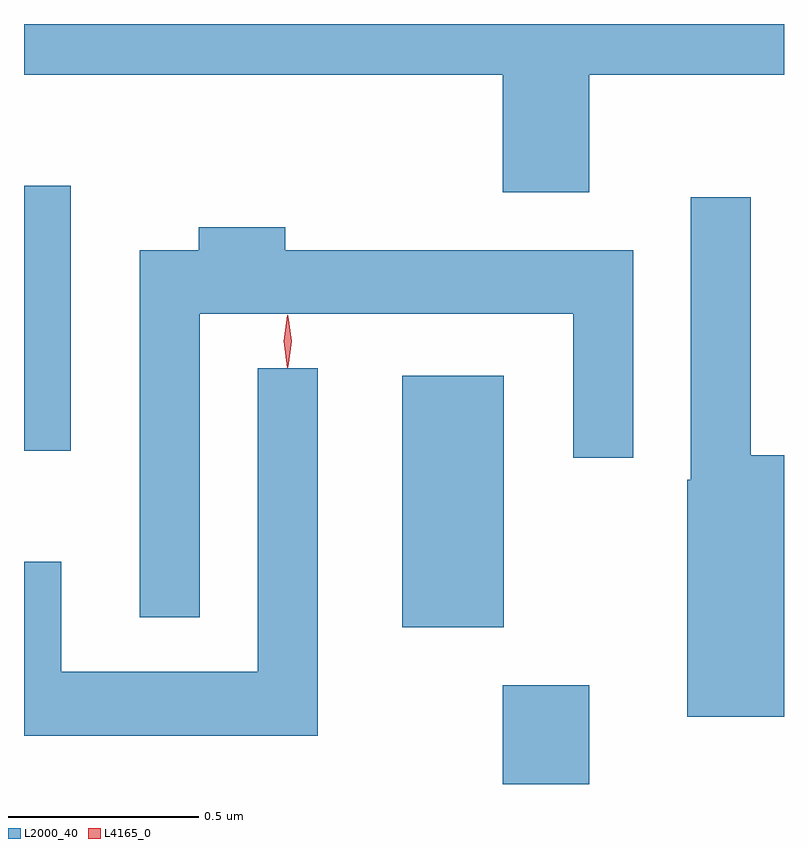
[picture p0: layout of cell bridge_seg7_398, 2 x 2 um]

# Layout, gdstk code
import gdstk
lib = gdstk.Library(unit=1e-6, precision=1e-09)
def R(c, l, rs):  # rectangles x0, y0, x1, y1
    for r in rs: c.add(gdstk.rectangle(r[:2], r[2:], *l))
def P(c, l, *ps):  # polygons
    for p in ps: c.add(gdstk.Polygon(p, *l))
L2000_40 = (2000, 40)
L4165_0 = (4165, 0)

bridge_seg7_398 = lib.new_cell('bridge_seg7_398')
R(bridge_seg7_398, L2000_40, [(1157.171,1745.749,1157.399,1746.009), (1156.906,1746.161,1157.174,1746.824), (1155.911,1746.626,1156.034,1747.324)])
P(bridge_seg7_398, L2000_40, [(1157.399,1747.616),(1157.911,1747.616),(1157.911,1747.749),(1155.911,1747.749),(1155.911,1747.616),(1157.171,1747.616),(1157.171,1747.306),(1157.399,1747.306)],
  [(1157.911,1746.614),(1157.824,1746.614),(1157.824,1747.293),(1157.666,1747.293),(1157.666,1746.55),(1157.656,1746.55),(1157.656,1745.926),(1157.911,1745.926)],
  [(1156.374,1746.986),(1157.356,1746.986),(1157.356,1746.608),(1157.514,1746.608),(1157.514,1747.154),(1156.599,1747.154),(1156.599,1747.214),(1156.371,1747.214),(1156.371,1747.154),(1156.216,1747.154),(1156.216,1746.188),(1156.374,1746.188)],
  [(1156.684,1746.843),(1156.526,1746.843),(1156.526,1746.044),(1156.009,1746.044),(1156.009,1746.334),(1155.911,1746.334),(1155.911,1745.876),(1156.684,1745.876)])
P(bridge_seg7_398, L4165_0, [(1156.604,1746.844),(1156.604,1746.844),(1156.594,1746.914),(1156.604,1746.983),(1156.604,1746.983),(1156.605,1746.983),(1156.614,1746.914),(1156.605,1746.844)],
  [(1156.606,1746.847),(1156.606,1746.847),(1156.596,1746.914),(1156.606,1746.98),(1156.606,1746.981),(1156.607,1746.98),(1156.616,1746.914),(1156.607,1746.847)])

lib.write_gds('bridge_seg7_398.gds')
